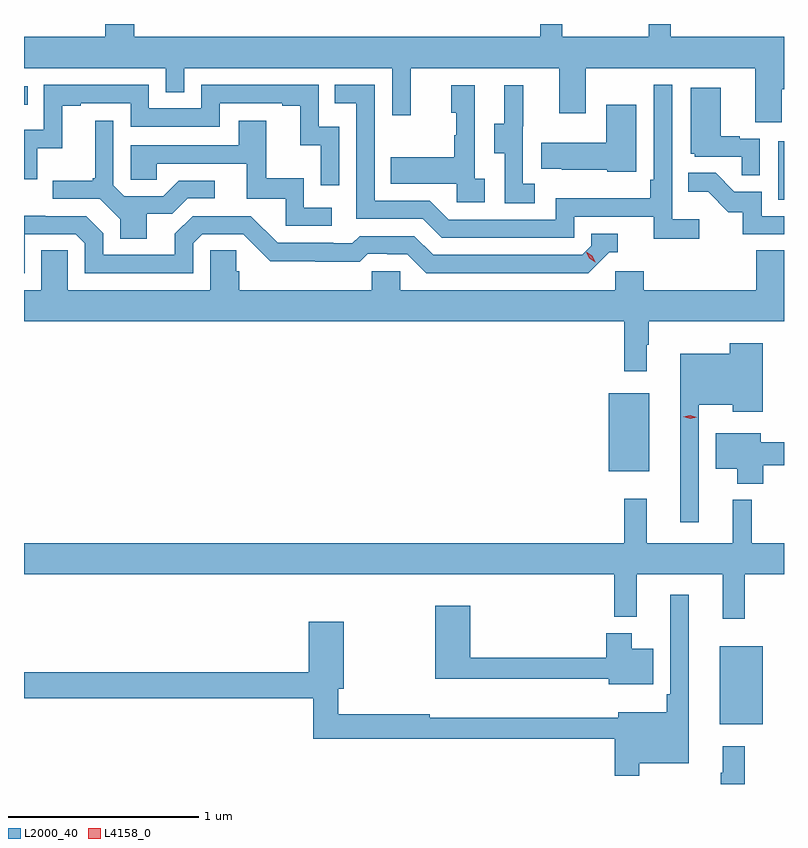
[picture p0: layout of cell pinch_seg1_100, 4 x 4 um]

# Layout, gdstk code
import gdstk
lib = gdstk.Library(unit=1e-6, precision=1e-09)
def R(c, l, rs):  # rectangles x0, y0, x1, y1
    for r in rs: c.add(gdstk.rectangle(r[:2], r[2:], *l))
def P(c, l, *ps):  # polygons
    for p in ps: c.add(gdstk.Polygon(p, *l))
L2000_40 = (2000, 40)
L4158_0 = (4158, 0)

pinch_seg1_100 = lib.new_cell('pinch_seg1_100')
R(pinch_seg1_100, L2000_40, [(1039.733,546.947,1039.96,547.357), (1039.148,548.279,1039.363,548.689), (1040.042,549.708,1040.071,550.015), (1036.071,550.208,1036.091,550.305)])
P(pinch_seg1_100, L2000_40, [(1040.059,550.288),(1040.071,550.288),(1040.071,550.564),(1039.475,550.564),(1039.475,550.632),(1039.358,550.632),(1039.358,550.564),(1038.905,550.564),(1038.905,550.632),(1038.787,550.632),(1038.787,550.564),(1036.652,550.564),(1036.652,550.632),(1036.499,550.632),(1036.499,550.564),(1036.071,550.564),(1036.071,550.4),(1036.818,550.4),(1036.818,550.273),(1036.914,550.273),(1036.914,550.4),(1038.009,550.4),(1038.009,550.152),(1038.107,550.152),(1038.107,550.4),(1038.887,550.4),(1038.887,550.161),(1039.027,550.161),(1039.027,550.4),(1039.919,550.4),(1039.919,550.114),(1040.059,550.114)],
  [(1039.624,549.604),(1039.482,549.604),(1039.482,550.312),(1039.386,550.312),(1039.386,549.811),(1039.366,549.811),(1039.366,549.715),(1038.87,549.715),(1038.87,549.603),(1038.306,549.603),(1038.207,549.702),(1037.916,549.702),(1037.916,550.311),(1037.707,550.311),(1037.707,550.215),(1037.82,550.215),(1037.82,549.606),(1038.17,549.606),(1038.269,549.507),(1038.966,549.507),(1038.966,549.618),(1039.385,549.618),(1039.385,549.502),(1039.624,549.502)],
  [(1037.73,550.092),(1037.622,550.092),(1037.622,550.311),(1037.004,550.311),(1037.004,550.188),(1036.728,550.188),(1036.728,550.311),(1036.176,550.311),(1036.176,550.075),(1036.071,550.075),(1036.071,549.816),(1036.14,549.816),(1036.14,549.977),(1036.273,549.977),(1036.273,550.203),(1036.369,550.203),(1036.369,550.215),(1036.632,550.215),(1036.632,550.092),(1037.1,550.092),(1037.1,550.215),(1037.429,550.215),(1037.429,550.203),(1037.525,550.203),(1037.525,549.995),(1037.634,549.995),(1037.634,549.783),(1037.73,549.783)],
  [(1038.496,549.818),(1038.444,549.818),(1038.444,550.309),(1038.32,550.309),(1038.32,550.164),(1038.346,550.164),(1038.346,550.046),(1038.336,550.046),(1038.336,549.931),(1038.001,549.931),(1038.001,549.791),(1038.348,549.791),(1038.348,549.693),(1038.496,549.693)],
  [(1038.76,549.791),(1038.696,549.791),(1038.696,550.095),(1038.698,550.095),(1038.698,550.309),(1038.599,550.309),(1038.599,550.107),(1038.545,550.107),(1038.545,549.952),(1038.6,549.952),(1038.6,549.688),(1038.76,549.688)],
  [(1039.944,550.029),(1039.838,550.029),(1039.838,550.042),(1039.738,550.042),(1039.738,550.297),(1039.58,550.297),(1039.58,549.948),(1039.602,549.948),(1039.602,549.933),(1039.849,549.933),(1039.849,549.835),(1039.944,549.835)],
  [(1039.294,550.207),(1039.136,550.207),(1039.136,550.006),(1038.793,550.006),(1038.793,549.869),(1038.901,549.869),(1038.901,549.866),(1039.14,549.866),(1039.14,549.854),(1039.294,549.854)],
  [(1037.692,549.666),(1037.544,549.666),(1037.544,549.82),(1037.345,549.82),(1037.345,550.123),(1037.201,550.123),(1037.201,549.993),(1036.632,549.993),(1036.632,549.813),(1036.769,549.813),(1036.769,549.897),(1037.243,549.897),(1037.243,549.711),(1037.448,549.711),(1037.448,549.57),(1037.692,549.57)],
  [(1036.717,549.634),(1036.852,549.634),(1036.932,549.714),(1037.074,549.714),(1037.074,549.807),(1036.886,549.807),(1036.805,549.726),(1036.599,549.726),(1036.542,549.783),(1036.542,550.123),(1036.445,550.123),(1036.445,549.82),(1036.434,549.82),(1036.434,549.808),(1036.221,549.808),(1036.221,549.711),(1036.47,549.711),(1036.577,549.604),(1036.577,549.502),(1036.717,549.502)],
  [(1040.071,549.621),(1039.953,549.621),(1039.953,549.75),(1039.809,549.75),(1039.711,549.848),(1039.567,549.848),(1039.567,549.749),(1039.671,549.749),(1039.778,549.642),(1039.855,549.642),(1039.855,549.525),(1040.071,549.525)],
  [(1036.074,549.525),(1036.344,549.525),(1036.392,549.477),(1036.392,549.321),(1036.962,549.321),(1036.962,549.477),(1037.01,549.525),(1037.226,549.525),(1037.368,549.383),(1037.604,549.383),(1037.604,549.381),(1037.837,549.381),(1037.879,549.423),(1037.982,549.423),(1037.982,549.42),(1038.089,549.42),(1038.188,549.321),(1039.041,549.321),(1039.152,549.432),(1039.195,549.432),(1039.195,549.528),(1039.056,549.528),(1039.056,549.465),(1039.008,549.417),(1038.225,549.417),(1038.126,549.516),(1037.837,549.516),(1037.798,549.477),(1037.699,549.477),(1037.699,549.48),(1037.406,549.48),(1037.265,549.621),(1036.959,549.621),(1036.865,549.527),(1036.865,549.417),(1036.488,549.417),(1036.488,549.531),(1036.398,549.621),(1036.182,549.621),(1036.182,549.623),(1036.071,549.623),(1036.071,549.321),(1036.074,549.321)],
  [(1039.231,548.805),(1039.348,548.805),(1039.348,548.945),(1039.36,548.945),(1039.36,549.068),(1040.071,549.068),(1040.071,549.44),(1039.925,549.44),(1039.925,549.232),(1039.334,549.232),(1039.334,549.33),(1039.182,549.33),(1039.182,549.232),(1038.051,549.232),(1038.051,549.33),(1037.901,549.33),(1037.901,549.232),(1037.204,549.232),(1037.204,549.33),(1037.189,549.33),(1037.189,549.44),(1037.052,549.44),(1037.052,549.232),(1036.302,549.232),(1036.302,549.44),(1036.163,549.44),(1036.163,549.232),(1036.071,549.232),(1036.071,549.068),(1039.231,549.068)],
  [(1039.623,548.627),(1039.802,548.627),(1039.802,548.591),(1039.96,548.591),(1039.96,548.953),(1039.785,548.953),(1039.785,548.896),(1039.526,548.896),(1039.526,548.01),(1039.623,548.01)],
  [(1039.961,548.309),(1040.071,548.309),(1040.071,548.431),(1039.948,548.431),(1039.948,548.479),(1039.712,548.479),(1039.712,548.291),(1039.826,548.291),(1039.826,548.213),(1039.961,548.213)],
  [(1039.865,547.736),(1040.071,547.736),(1040.071,547.9),(1039.902,547.9),(1039.902,548.128),(1039.802,548.128),(1039.802,547.9),(1039.349,547.9),(1039.349,548.134),(1039.231,548.134),(1039.231,547.9),(1036.071,547.9),(1036.071,547.736),(1039.177,547.736),(1039.177,547.511),(1039.295,547.511),(1039.295,547.736),(1039.748,547.736),(1039.748,547.503),(1039.865,547.503)],
  [(1039.309,546.74),(1039.57,546.74),(1039.57,547.627),(1039.473,547.627),(1039.473,547.105),(1039.453,547.105),(1039.453,547.009),(1039.199,547.009),(1039.199,546.98),(1038.206,546.98),(1038.206,546.998),(1037.725,546.998),(1037.725,547.133),(1037.753,547.133),(1037.753,547.486),(1037.57,547.486),(1037.57,547.22),(1036.071,547.22),(1036.071,547.084),(1037.593,547.084),(1037.593,546.87),(1039.18,546.87),(1039.18,546.675),(1039.309,546.675)],
  [(1039.384,547.345),(1039.27,547.345),(1039.27,547.426),(1039.136,547.426),(1039.136,547.297),(1038.419,547.297),(1038.419,547.57),(1038.236,547.57),(1038.236,547.187),(1039.148,547.187),(1039.148,547.157),(1039.384,547.157)],
  [(1039.865,546.832),(1039.748,546.832),(1039.748,546.692),(1039.737,546.692),(1039.737,546.632),(1039.865,546.632)])
P(pinch_seg1_100, L4158_0, [(1039.077,549.378),(1039.047,549.398),(1039.031,549.43),(1039.031,549.431),(1039.032,549.431),(1039.062,549.411),(1039.078,549.378),(1039.078,549.378)],
  [(1039.577,548.554),(1039.542,548.565),(1039.541,548.566),(1039.542,548.566),(1039.578,548.574),(1039.613,548.563),(1039.613,548.563),(1039.613,548.562)])

lib.write_gds('pinch_seg1_100.gds')
